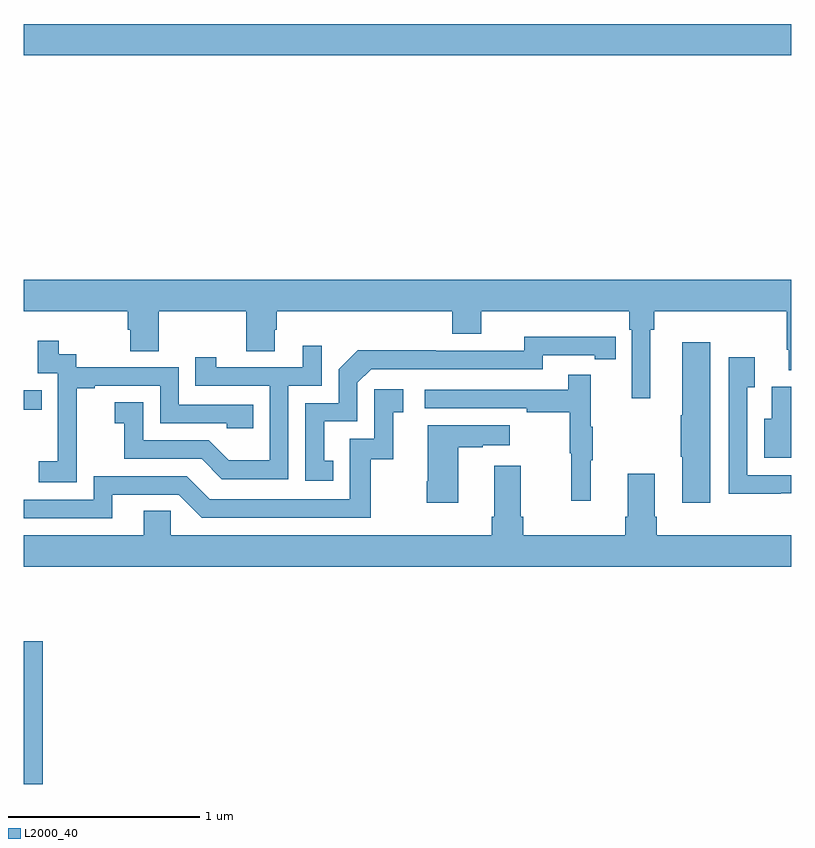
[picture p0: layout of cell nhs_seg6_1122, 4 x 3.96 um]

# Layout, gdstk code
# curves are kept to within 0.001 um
import gdstk
lib = gdstk.Library(unit=1e-6, precision=1e-09)
def R(c, l, rs):  # rectangles x0, y0, x1, y1
    for r in rs: c.add(gdstk.rectangle(r[:2], r[2:], *l))
def P(c, l, *ps):  # polygons
    for p in ps: c.add(gdstk.Polygon(p, *l))
L2000_40 = (2000, 40)

nhs_seg6_1122 = lib.new_cell('nhs_seg6_1122')
R(nhs_seg6_1122, L2000_40, [(179,983.5,179.099,984.244), (179,985.45,179.093,985.551), (179,987.296,183,987.46)])
P(nhs_seg6_1122, L2000_40, [(182.266,985.868),(182.285,985.868),(182.285,985.964),(182.975,985.964),(182.975,985.762),(182.987,985.762),(182.987,985.655),(183,985.655),(183,986.128),(179,986.128),(179,985.964),(179.543,985.964),(179.543,985.866),(179.555,985.866),(179.555,985.756),(179.703,985.756),(179.703,985.964),(180.16,985.964),(180.16,985.756),(180.307,985.756),(180.307,985.866),(180.32,985.866),(180.32,985.964),(181.232,985.964),(181.232,985.847),(181.384,985.847),(181.384,985.964),(182.156,985.964),(182.156,985.868),(182.169,985.868),(182.169,985.509),(182.266,985.509)],
  [(180.614,985.185),(180.565,985.185),(180.565,985.389),(180.738,985.389),(180.738,985.59),(180.81,985.662),(181.704,985.662),(181.704,985.734),(181.976,985.734),(181.976,985.714),(182.084,985.714),(182.084,985.83),(181.608,985.831),(181.608,985.758),(181.148,985.758),(181.148,985.76),(180.74,985.76),(180.642,985.662),(180.642,985.485),(180.468,985.485),(180.468,985.08),(180.614,985.08)],
  [(179.277,985.279),(179.276,985.279),(179.276,985.563),(179.371,985.563),(179.371,985.575),(179.712,985.575),(179.712,985.38),(180.057,985.38),(180.057,985.353),(180.197,985.353),(180.197,985.476),(179.808,985.476),(179.808,985.671),(179.274,985.671),(179.274,985.74),(179.182,985.74),(179.182,985.81),(179.073,985.81),(179.073,985.641),(179.178,985.641),(179.178,985.412),(179.177,985.412),(179.177,985.183),(179.079,985.183),(179.079,985.073),(179.277,985.073)],
  [(182.578,985.801),(182.432,985.801),(182.432,985.421),(182.425,985.421),(182.425,985.204),(182.432,985.204),(182.432,984.966),(182.578,984.966)],
  [(180.378,985.575),(180.552,985.575),(180.552,985.783),(180.455,985.783),(180.455,985.671),(180.004,985.671),(180.004,985.723),(179.893,985.723),(179.893,985.575),(180.282,985.575),(180.282,985.186),(180.068,985.186),(179.964,985.29),(179.622,985.29),(179.622,985.489),(179.475,985.489),(179.475,985.379),(179.524,985.379),(179.524,985.194),(179.927,985.194),(180.032,985.089),(180.378,985.089)],
  [(182.945,985.014),(183,985.014),(183,985.11),(182.769,985.11),(182.769,985.567),(182.809,985.567),(182.809,985.723),(182.673,985.723),(182.673,985.013),(182.945,985.013)],
  [(181.955,985.187),(181.966,985.187),(181.966,985.361),(181.955,985.361),(181.955,985.633),(181.837,985.633),(181.837,985.554),(181.089,985.554),(181.089,985.458),(181.621,985.458),(181.621,985.438),(181.845,985.438),(181.845,985.224),(181.852,985.224),(181.852,984.975),(181.955,984.975)],
  [(183,985.57),(182.897,985.57),(182.897,985.402),(182.858,985.402),(182.858,985.199),(183,985.199)],
  [(179.461,985.008),(179.808,985.008),(179.928,984.888),(180.808,984.888),(180.808,985.191),(180.926,985.191),(180.926,985.437),(180.979,985.437),(180.979,985.558),(180.828,985.558),(180.828,985.299),(180.699,985.299),(180.699,984.984),(179.97,984.984),(179.85,985.104),(179.364,985.104),(179.364,984.981),(179,984.981),(179,984.885),(179.461,984.885)],
  [(181.264,985.255),(181.391,985.255),(181.391,985.265),(181.534,985.265),(181.534,985.369),(181.106,985.369),(181.106,985.078),(181.099,985.078),(181.099,984.966),(181.264,984.966)],
  [(183,984.796),(182.3,984.796),(182.3,984.892),(182.287,984.892),(182.287,985.117),(182.147,985.117),(182.147,984.892),(182.135,984.892),(182.135,984.796),(181.604,984.796),(181.604,984.892),(181.591,984.892),(181.591,985.159),(181.451,985.159),(181.451,984.892),(181.439,984.892),(181.439,984.796),(179.766,984.796),(179.766,984.923),(179.627,984.923),(179.627,984.796),(179,984.796),(179,984.632),(183,984.632)])

lib.write_gds('nhs_seg6_1122.gds')
